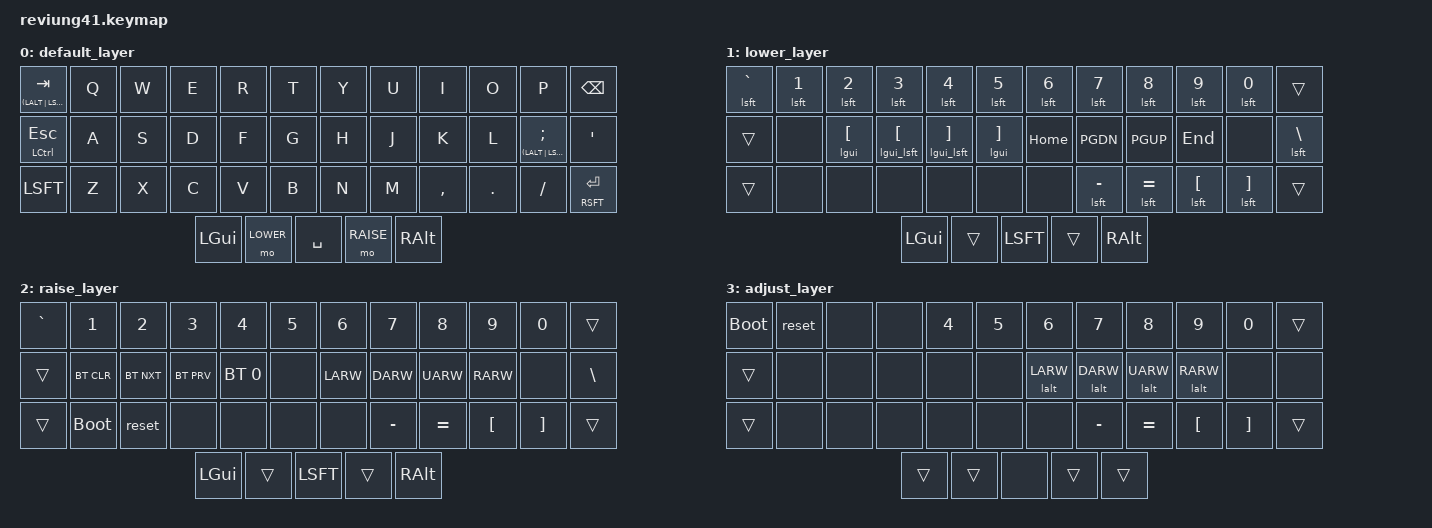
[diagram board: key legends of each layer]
/*
 * Copyright (c) 2020 Xton
 * 
 * SPDX-License-Identifier: MIT
 */

#include <behaviors.dtsi>
#include <dt-bindings/zmk/keys.h>
#include <dt-bindings/zmk/bt.h>

#define DEFAULT 0
#define LOWER 1
#define RAISE 2
#define ADJUST 3
 
/ {
    keymap {
        compatible = "zmk,keymap";

        default_layer {
            bindings = <
&mt (LALT | LSFT)  TAB      &kp Q     &kp W     &kp E     &kp R     &kp T                       &kp Y     &kp U     &kp I     &kp O     &kp P     &kp BKSP
&mt LCTL ESC &kp A     &kp S     &kp D     &kp F     &kp G                       &kp H     &kp J     &kp K     &kp L     &mt (LALT | LSFT) SCLN  &kp QUOT
&kp LSFT     &kp Z     &kp X     &kp C     &kp V     &kp B                       &kp N     &kp M     &kp CMMA  &kp DOT   &kp FSLH  &mt RSFT RET
                                           &kp LGUI  &mo LOWER    &kp SPC        &mo RAISE &kp RALT
            >;
        };
        lower_layer {
            bindings = <
&lsft GRAV &lsft NUM_1 &lsft NUM_2 &lsft NUM_3 &lsft NUM_4 &lsft NUM_5                    &lsft NUM_6 &lsft NUM_7 &lsft NUM_8 &lsft NUM_9 &lsft NUM_0 &trans
&trans   &none     &lgui LBKT     &lgui_lsft LBKT     &lgui_lsft RBKT     &lgui RBKT                        &kp HOME  &kp   PGDN  &kp   PGUP  &kp   END   &none       &lsft BSLH
&trans   &none     &none     &none     &none     &none                        &none     &lsft MINUS &lsft EQL   &lsft LBKT  &lsft RBKT  &trans
                                       &kp LGUI  &trans      &kp LSFT         &trans    &kp RALT
            >;
        };
        raise_layer {
            bindings = <
&kp GRAV &kp NUM_1 &kp NUM_2 &kp NUM_3 &kp NUM_4 &kp NUM_5                    &kp NUM_6 &kp NUM_7 &kp NUM_8 &kp NUM_9 &kp NUM_0 &trans
&trans   &bt BT_CLR     &bt BT_NXT     &bt BT_PRV     &bt BT_SEL 0     &none                        &kp LARW  &kp DARW  &kp UARW  &kp RARW  &none     &kp BSLH
&trans   &bootloader     &reset     &none     &none     &none                        &none     &kp MINUS &kp EQL   &kp LBKT  &kp RBKT  &trans
                                       &kp LGUI  &trans      &kp LSFT         &trans    &kp RALT
            >;
        };

        adjust_layer {
            bindings = <
&bootloader &reset &none     &none &kp NUM_4 &kp NUM_5                    &kp NUM_6 &kp NUM_7 &kp NUM_8 &kp NUM_9 &kp NUM_0 &trans
&trans   &none     &none     &none     &none     &none                        &lalt LARW  &lalt DARW  &lalt UARW  &lalt RARW  &none     &none
&trans   &none     &none     &none     &none     &none                        &none     &kp MINUS &kp EQL   &kp LBKT  &kp RBKT  &trans
                                       &trans    &trans      &none         &trans    &trans
            >;
        };

    };
};
